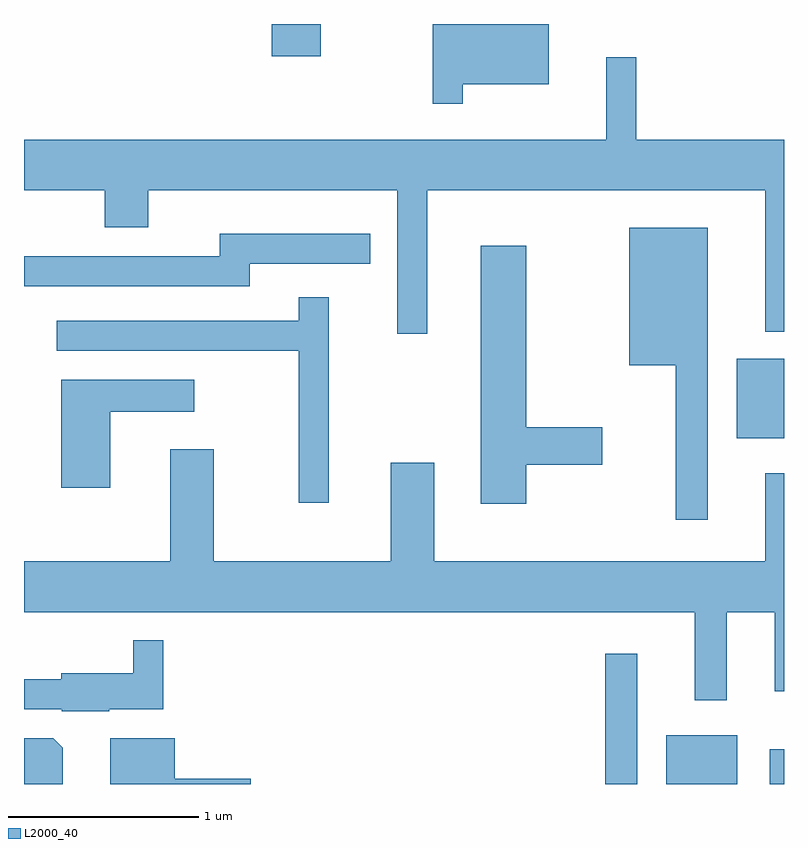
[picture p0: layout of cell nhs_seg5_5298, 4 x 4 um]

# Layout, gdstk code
import gdstk
lib = gdstk.Library(unit=1e-6, precision=1e-09)
def R(c, l, rs):  # rectangles x0, y0, x1, y1
    for r in rs: c.add(gdstk.rectangle(r[:2], r[2:], *l))
def P(c, l, *ps):  # polygons
    for p in ps: c.add(gdstk.Polygon(p, *l))
L2000_40 = (2000, 40)

nhs_seg5_5298 = lib.new_cell('nhs_seg5_5298')
R(nhs_seg5_5298, L2000_40, [(344.671,1498.072,344.839,1498.758), (344.991,1498.072,345.364,1498.329), (345.536,1498.072,345.611,1498.254), (345.361,1499.891,345.611,1500.309), (342.916,1501.901,343.174,1502.072)])
P(nhs_seg5_5298, L2000_40, [(343.919,1501.756),(344.374,1501.756),(344.374,1502.072),(343.761,1502.072),(343.761,1501.653),(343.919,1501.653)],
  [(341.611,1501.196),(342.036,1501.196),(342.036,1501.001),(342.264,1501.001),(342.264,1501.196),(343.576,1501.196),(343.576,1500.443),(343.734,1500.443),(343.734,1501.196),(345.511,1501.196),(345.511,1500.453),(345.611,1500.453),(345.611,1501.464),(344.834,1501.464),(344.834,1501.898),(344.676,1501.898),(344.676,1501.464),(341.611,1501.464)],
  [(345.209,1500.999),(344.796,1500.999),(344.796,1500.276),(345.041,1500.276),(345.041,1499.463),(345.209,1499.463)],
  [(342.799,1500.811),(343.433,1500.811),(343.433,1500.969),(342.641,1500.969),(342.641,1500.849),(341.611,1500.849),(341.611,1500.691),(342.799,1500.691)],
  [(344.254,1499.751),(344.654,1499.751),(344.654,1499.949),(344.254,1499.949),(344.254,1500.904),(344.016,1500.904),(344.016,1499.546),(344.254,1499.546)],
  [(343.214,1500.633),(343.056,1500.633),(343.056,1500.509),(341.783,1500.509),(341.783,1500.351),(343.056,1500.351),(343.056,1499.553),(343.214,1499.553)],
  [(342.064,1500.031),(342.508,1500.031),(342.508,1500.199),(341.806,1500.199),(341.806,1499.631),(342.064,1499.631)],
  [(345.309,1498.976),(345.561,1498.976),(345.561,1498.561),(345.611,1498.561),(345.611,1499.708),(345.511,1499.708),(345.511,1499.244),(343.769,1499.244),(343.769,1499.764),(343.541,1499.764),(343.541,1499.244),(342.609,1499.244),(342.609,1499.834),(342.381,1499.834),(342.381,1499.244),(341.611,1499.244),(341.611,1498.976),(345.141,1498.976),(345.141,1498.513),(345.309,1498.513)],
  [(342.06,1498.466),(342.344,1498.466),(342.344,1498.828),(342.186,1498.828),(342.186,1498.654),(341.806,1498.654),(341.806,1498.624),(341.611,1498.624),(341.611,1498.466),(341.81,1498.466),(341.81,1498.456),(342.06,1498.456)],
  [(342.804,1498.099),(342.404,1498.099),(342.404,1498.314),(342.066,1498.314),(342.066,1498.072),(342.804,1498.072)],
  [(341.814,1498.264),(341.764,1498.314),(341.611,1498.314),(341.611,1498.072),(341.814,1498.072)])

lib.write_gds('nhs_seg5_5298.gds')
